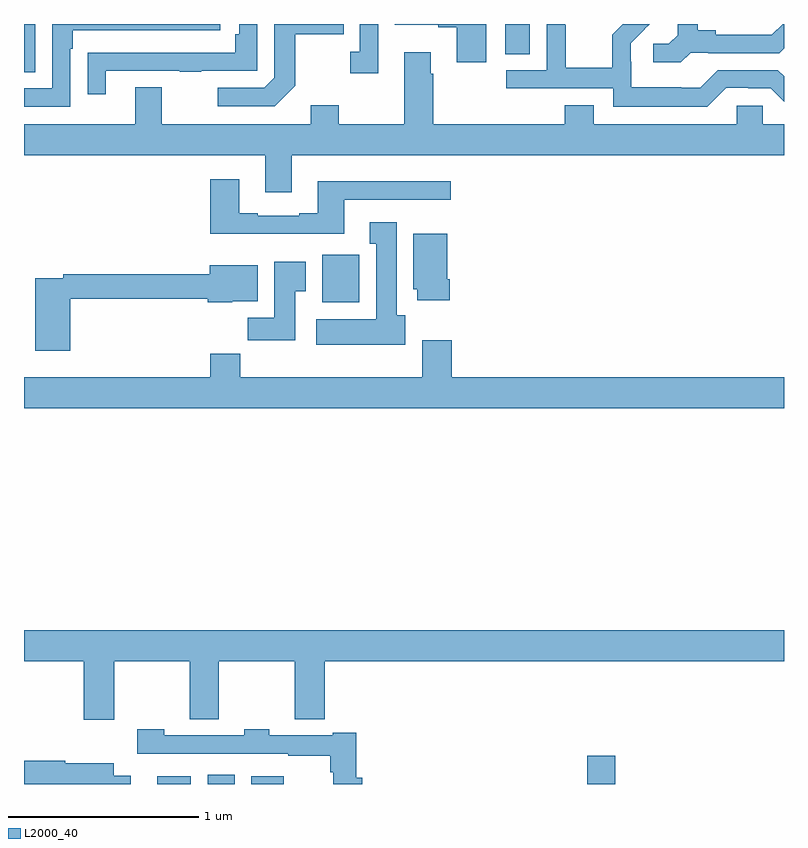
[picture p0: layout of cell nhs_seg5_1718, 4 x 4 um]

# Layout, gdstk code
import gdstk
lib = gdstk.Library(unit=1e-6, precision=1e-09)
def R(c, l, rs):  # rectangles x0, y0, x1, y1
    for r in rs: c.add(gdstk.rectangle(r[:2], r[2:], *l))
def P(c, l, *ps):  # polygons
    for p in ps: c.add(gdstk.Polygon(p, *l))
L2000_40 = (2000, 40)

nhs_seg5_1718 = lib.new_cell('nhs_seg5_1718')
R(nhs_seg5_1718, L2000_40, [(215.702,838.799,215.878,838.84), (215.966,838.799,216.109,838.849), (216.197,838.799,216.367,838.84), (217.964,838.799,218.111,838.948), (216.569,841.334,216.765,841.585), (215,842.545,215.058,842.799), (217.532,842.641,217.663,842.799)])
P(nhs_seg5_1718, L2000_40, [(215.431,842.553),(215.821,842.553),(215.821,842.548),(215.933,842.548),(215.933,842.553),(216.228,842.553),(216.228,842.799),(216.132,842.799),(216.132,842.746),(216.112,842.746),(216.112,842.649),(215.437,842.649),(215.437,842.648),(215.335,842.648),(215.335,842.43),(215.431,842.43)],
  [(217.432,842.799),(216.951,842.799),(216.951,842.795),(217.181,842.795),(217.181,842.783),(217.277,842.783),(217.277,842.598),(217.432,842.598)],
  [(218.697,842.463),(218.813,842.463),(218.813,842.46),(218.931,842.46),(219,842.391),(219,842.523),(218.967,842.556),(218.652,842.556),(218.559,842.463),(218.459,842.463),(218.459,842.467),(218.196,842.467),(218.196,842.601),(218.194,842.601),(218.194,842.698),(218.268,842.772),(218.267,842.773),(218.293,842.799),(218.151,842.799),(218.095,842.743),(218.095,842.569),(217.851,842.569),(217.851,842.792),(217.848,842.792),(217.848,842.799),(217.752,842.799),(217.752,842.556),(217.539,842.556),(217.539,842.46),(218.1,842.46),(218.1,842.363),(218.597,842.363)],
  [(216.427,842.473),(216.427,842.746),(216.683,842.746),(216.683,842.799),(216.318,842.799),(216.318,842.517),(216.264,842.463),(216.021,842.463),(216.021,842.367),(216.321,842.367)],
  [(216.864,842.799),(216.768,842.799),(216.768,842.654),(216.717,842.654),(216.717,842.541),(216.864,842.541)],
  [(218.508,842.649),(218.602,842.649),(218.602,842.646),(218.974,842.646),(219,842.672),(219,842.799),(218.993,842.799),(218.936,842.742),(218.641,842.742),(218.641,842.765),(218.545,842.765),(218.545,842.799),(218.441,842.799),(218.441,842.741),(218.394,842.694),(218.313,842.694),(218.313,842.597),(218.456,842.597)],
  [(215.244,842.669),(215.257,842.669),(215.257,842.766),(216.034,842.766),(216.034,842.799),(215.148,842.799),(215.148,842.46),(215,842.46),(215,842.364),(215.244,842.364)],
  [(215.725,842.467),(215.585,842.467),(215.585,842.272),(215,842.272),(215,842.108),(216.269,842.108),(216.269,841.914),(216.409,841.914),(216.409,842.108),(219,842.108),(219,842.272),(218.889,842.272),(218.889,842.37),(218.751,842.37),(218.751,842.272),(217.999,842.272),(217.999,842.371),(217.847,842.371),(217.847,842.272),(217.154,842.272),(217.154,842.537),(217.141,842.537),(217.141,842.65),(217.001,842.65),(217.001,842.272),(216.657,842.272),(216.657,842.371),(216.509,842.371),(216.509,842.272),(215.725,842.272)],
  [(216.685,841.875),(217.246,841.875),(217.246,841.972),(216.545,841.972),(216.545,841.804),(216.449,841.804),(216.449,841.791),(216.229,841.791),(216.229,841.804),(216.133,841.804),(216.133,841.981),(215.981,841.981),(215.981,841.694),(216.685,841.694)],
  [(217.006,841.266),(216.961,841.266),(216.961,841.756),(216.821,841.756),(216.821,841.643),(216.854,841.643),(216.854,841.246),(216.537,841.246),(216.537,841.112),(217.006,841.112)],
  [(217.241,841.456),(217.228,841.456),(217.228,841.696),(217.049,841.696),(217.049,841.404),(217.07,841.404),(217.07,841.344),(217.241,841.344)],
  [(216.427,841.393),(216.484,841.393),(216.484,841.549),(216.317,841.549),(216.317,841.252),(216.178,841.252),(216.178,841.134),(216.427,841.134)],
  [(215.243,841.353),(215.966,841.353),(215.966,841.334),(216.096,841.334),(216.096,841.34),(216.229,841.34),(216.229,841.528),(215.978,841.528),(215.978,841.481),(215.206,841.481),(215.206,841.461),(215.06,841.461),(215.06,841.08),(215.243,841.08)],
  [(219,840.94),(217.25,840.94),(217.25,841.135),(217.097,841.135),(217.097,840.94),(216.137,840.94),(216.137,841.064),(215.981,841.064),(215.981,840.94),(215,840.94),(215,840.776),(219,840.776)],
  [(215,839.444),(215.315,839.444),(215.315,839.136),(215.475,839.136),(215.475,839.444),(215.872,839.444),(215.872,839.14),(216.026,839.14),(216.026,839.444),(216.424,839.444),(216.424,839.14),(216.584,839.14),(216.584,839.444),(219,839.444),(219,839.608),(215,839.608)],
  [(216.779,838.831),(216.749,838.831),(216.749,839.068),(216.626,839.068),(216.626,839.055),(216.291,839.055),(216.291,839.088),(216.159,839.088),(216.159,839.055),(215.739,839.055),(215.739,839.088),(215.595,839.088),(215.595,838.959),(216.391,838.959),(216.391,838.947),(216.613,838.947),(216.613,838.862),(216.628,838.862),(216.628,838.799),(216.779,838.799)],
  [(215.563,838.843),(215.473,838.843),(215.473,838.909),(215.216,838.909),(215.216,838.922),(215,838.922),(215,838.799),(215.563,838.799)])

lib.write_gds('nhs_seg5_1718.gds')
